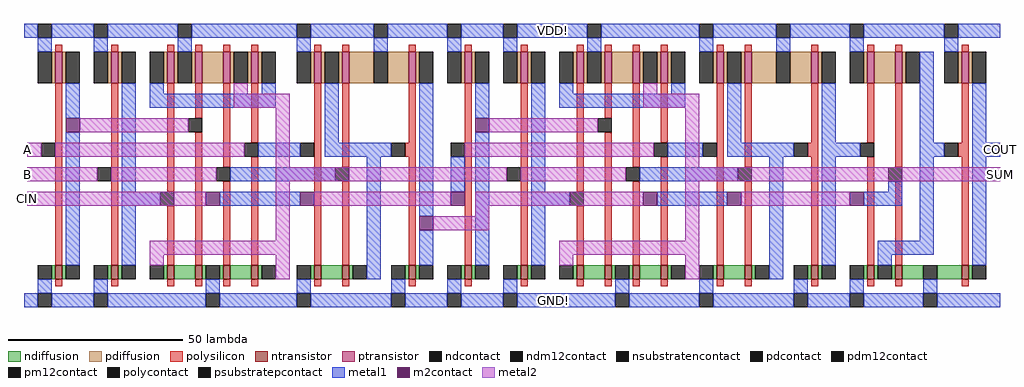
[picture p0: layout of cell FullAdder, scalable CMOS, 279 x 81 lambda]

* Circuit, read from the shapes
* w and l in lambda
.subckt FullAdder A B CIN COUT GND! SUM VDD!
M1 n1 A GND! GND! nfet w=4 l=2
M2 n2 B GND! GND! nfet w=4 l=2
M3 n3 n2 n4 GND! nfet w=4 l=2
M4 GND! n1 n3 GND! nfet w=4 l=2
M5 n5 B GND! GND! nfet w=4 l=2
M6 n4 A n5 GND! nfet w=4 l=2
M7 n6 A GND! GND! nfet w=4 l=2
M8 n7 B n6 GND! nfet w=4 l=2
M9 n8 n7 GND! GND! nfet w=4 l=2
M10 n9 CIN GND! GND! nfet w=4 l=2
M11 n10 n4 GND! GND! nfet w=4 l=2
M12 n11 n10 SUM GND! nfet w=4 l=2
M13 GND! n9 n11 GND! nfet w=4 l=2
M14 n12 n4 GND! GND! nfet w=4 l=2
M15 SUM CIN n12 GND! nfet w=4 l=2
M16 n13 CIN GND! GND! nfet w=4 l=2
M17 n14 n4 n13 GND! nfet w=4 l=2
M18 n15 n14 GND! GND! nfet w=4 l=2
M19 n16 n15 GND! GND! nfet w=4 l=2
M20 GND! n8 n16 GND! nfet w=4 l=2
M21 COUT n16 GND! GND! nfet w=4 l=2
M22 n1 A VDD! VDD! pfet w=9 l=2
M23 n2 B VDD! VDD! pfet w=9 l=2
M24 VDD! n2 n17 VDD! pfet w=9 l=2
M25 n18 n1 VDD! VDD! pfet w=9 l=2
M26 n4 B n18 VDD! pfet w=9 l=2
M27 n17 A n4 VDD! pfet w=9 l=2
M28 n7 A VDD! VDD! pfet w=9 l=2
M29 VDD! B n7 VDD! pfet w=9 l=2
M30 n8 n7 VDD! VDD! pfet w=9 l=2
M31 n9 CIN VDD! VDD! pfet w=9 l=2
M32 n10 n4 VDD! VDD! pfet w=9 l=2
M33 VDD! n10 n19 VDD! pfet w=9 l=2
M34 n20 n9 VDD! VDD! pfet w=9 l=2
M35 SUM n4 n20 VDD! pfet w=9 l=2
M36 n19 CIN SUM VDD! pfet w=9 l=2
M37 n14 CIN VDD! VDD! pfet w=9 l=2
M38 VDD! n4 n14 VDD! pfet w=9 l=2
M39 n15 n14 VDD! VDD! pfet w=9 l=2
M40 n21 n15 VDD! VDD! pfet w=9 l=2
M41 n16 n8 n21 VDD! pfet w=9 l=2
M42 COUT n16 VDD! VDD! pfet w=9 l=2
.ends

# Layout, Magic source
magic
tech scmos
<< ntransistor >>
rect -102 -30 -100 -26
rect -86 -30 -84 -26
rect -70 -30 -68 -26
rect -62 -30 -60 -26
rect -54 -30 -52 -26
rect -46 -30 -44 -26
rect -28 -30 -26 -26
rect -20 -30 -18 -26
rect -1 -30 1 -26
rect 15 -30 17 -26
rect 31 -30 33 -26
rect 47 -30 49 -26
rect 55 -30 57 -26
rect 63 -30 65 -26
rect 71 -30 73 -26
rect 87 -30 89 -26
rect 95 -30 97 -26
rect 114 -30 116 -26
rect 130 -30 132 -26
rect 138 -30 140 -26
rect 157 -30 159 -26
<< ptransistor >>
rect -102 26 -100 35
rect -86 26 -84 35
rect -70 26 -68 35
rect -62 26 -60 35
rect -54 26 -52 35
rect -46 26 -44 35
rect -28 26 -26 35
rect -20 26 -18 35
rect -1 26 1 35
rect 15 26 17 35
rect 31 26 33 35
rect 47 26 49 35
rect 55 26 57 35
rect 63 26 65 35
rect 71 26 73 35
rect 87 26 89 35
rect 95 26 97 35
rect 114 26 116 35
rect 130 26 132 35
rect 138 26 140 35
rect 157 26 159 35
<< ndiffusion >>
rect -103 -30 -102 -26
rect -100 -30 -99 -26
rect -87 -30 -86 -26
rect -84 -30 -83 -26
rect -71 -30 -70 -26
rect -68 -30 -62 -26
rect -60 -30 -59 -26
rect -55 -30 -54 -26
rect -52 -30 -46 -26
rect -44 -30 -43 -26
rect -29 -30 -28 -26
rect -26 -30 -20 -26
rect -18 -30 -17 -26
rect -2 -30 -1 -26
rect 1 -30 2 -26
rect 14 -30 15 -26
rect 17 -30 18 -26
rect 30 -30 31 -26
rect 33 -30 34 -26
rect 46 -30 47 -26
rect 49 -30 55 -26
rect 57 -30 58 -26
rect 62 -30 63 -26
rect 65 -30 71 -26
rect 73 -30 74 -26
rect 86 -30 87 -26
rect 89 -30 95 -26
rect 97 -30 98 -26
rect 113 -30 114 -26
rect 116 -30 117 -26
rect 129 -30 130 -26
rect 132 -30 133 -26
rect 137 -30 138 -26
rect 140 -30 146 -26
rect 150 -30 157 -26
rect 159 -30 160 -26
<< pdiffusion >>
rect -103 26 -102 35
rect -100 26 -99 35
rect -87 26 -86 35
rect -84 26 -83 35
rect -71 26 -70 35
rect -68 26 -67 35
rect -63 26 -62 35
rect -60 26 -54 35
rect -52 26 -51 35
rect -47 26 -46 35
rect -44 26 -43 35
rect -29 26 -28 35
rect -26 26 -25 35
rect -21 26 -20 35
rect -18 26 -11 35
rect -7 26 -1 35
rect 1 26 2 35
rect 14 26 15 35
rect 17 26 18 35
rect 30 26 31 35
rect 33 26 34 35
rect 46 26 47 35
rect 49 26 50 35
rect 54 26 55 35
rect 57 26 63 35
rect 65 26 66 35
rect 70 26 71 35
rect 73 26 74 35
rect 86 26 87 35
rect 89 26 90 35
rect 94 26 95 35
rect 97 26 104 35
rect 108 26 114 35
rect 116 26 117 35
rect 129 26 130 35
rect 132 26 138 35
rect 140 26 141 35
rect 156 26 157 35
rect 159 26 160 35
<< ndcontact >>
rect -107 -30 -103 -26
rect -99 -30 -95 -26
rect -91 -30 -87 -26
rect -83 -30 -79 -26
rect -59 -30 -55 -26
rect -33 -30 -29 -26
rect -17 -30 -13 -26
rect -6 -30 -2 -26
rect 2 -30 6 -26
rect 10 -30 14 -26
rect 18 -30 22 -26
rect 26 -30 30 -26
rect 34 -30 38 -26
rect 58 -30 62 -26
rect 82 -30 86 -26
rect 98 -30 102 -26
rect 109 -30 113 -26
rect 117 -30 121 -26
rect 125 -30 129 -26
rect 133 -30 137 -26
rect 146 -30 150 -26
rect 160 -30 164 -26
<< pdcontact >>
rect -107 26 -103 35
rect -99 26 -95 35
rect -91 26 -87 35
rect -83 26 -79 35
rect -75 26 -71 35
rect -67 26 -63 35
rect -43 26 -39 35
rect -33 26 -29 35
rect -25 26 -21 35
rect -11 26 -7 35
rect 2 26 6 35
rect 10 26 14 35
rect 18 26 22 35
rect 26 26 30 35
rect 34 26 38 35
rect 42 26 46 35
rect 50 26 54 35
rect 74 26 78 35
rect 82 26 86 35
rect 90 26 94 35
rect 104 26 108 35
rect 117 26 121 35
rect 125 26 129 35
rect 141 26 145 35
rect 152 26 156 35
rect 160 26 164 35
<< psubstratepcontact >>
rect -107 -38 -103 -34
rect -91 -38 -87 -34
rect -59 -38 -55 -34
rect -33 -38 -29 -34
rect -6 -38 -2 -34
rect 10 -38 14 -34
rect 26 -38 30 -34
rect 58 -38 62 -34
rect 82 -38 86 -34
rect 109 -38 113 -34
rect 125 -38 129 -34
rect 146 -38 150 -34
<< nsubstratencontact >>
rect -107 39 -103 43
rect -91 39 -87 43
rect -67 39 -63 43
rect -33 39 -29 43
rect -11 39 -7 43
rect 10 39 14 43
rect 26 39 30 43
rect 50 39 54 43
rect 82 39 86 43
rect 104 39 108 43
rect 125 39 129 43
rect 152 39 156 43
<< polysilicon >>
rect -102 35 -100 37
rect -86 35 -84 37
rect -70 35 -68 37
rect -62 35 -60 37
rect -54 35 -52 37
rect -46 35 -44 37
rect -28 35 -26 37
rect -20 35 -18 37
rect -1 35 1 37
rect 15 35 17 37
rect 31 35 33 37
rect 47 35 49 37
rect 55 35 57 37
rect 63 35 65 37
rect 71 35 73 37
rect 87 35 89 37
rect 95 35 97 37
rect 114 35 116 37
rect 130 35 132 37
rect 138 35 140 37
rect 157 35 159 37
rect -102 -26 -100 26
rect -86 -26 -84 26
rect -70 -5 -68 26
rect -62 16 -60 26
rect -70 -26 -68 -9
rect -62 -26 -60 12
rect -54 2 -52 26
rect -46 9 -44 26
rect -54 -26 -52 -2
rect -46 -26 -44 5
rect -28 -26 -26 26
rect -20 2 -18 26
rect -1 9 1 26
rect -2 5 1 9
rect -20 -26 -18 -2
rect -1 -26 1 5
rect 15 -26 17 26
rect 31 -26 33 26
rect 47 -5 49 26
rect 55 16 57 26
rect 47 -26 49 -9
rect 55 -26 57 12
rect 63 2 65 26
rect 71 9 73 26
rect 63 -26 65 -2
rect 71 -26 73 5
rect 87 -26 89 26
rect 95 2 97 26
rect 114 9 116 26
rect 130 9 132 26
rect 113 5 116 9
rect 95 -26 97 -2
rect 114 -26 116 5
rect 130 -26 132 5
rect 138 2 140 26
rect 157 9 159 26
rect 156 5 159 9
rect 138 -26 140 -2
rect 157 -26 159 5
rect -102 -32 -100 -30
rect -86 -32 -84 -30
rect -70 -32 -68 -30
rect -62 -32 -60 -30
rect -54 -32 -52 -30
rect -46 -32 -44 -30
rect -28 -32 -26 -30
rect -20 -32 -18 -30
rect -1 -32 1 -30
rect 15 -32 17 -30
rect 31 -32 33 -30
rect 47 -32 49 -30
rect 55 -32 57 -30
rect 63 -32 65 -30
rect 71 -32 73 -30
rect 87 -32 89 -30
rect 95 -32 97 -30
rect 114 -32 116 -30
rect 130 -32 132 -30
rect 138 -32 140 -30
rect 157 -32 159 -30
<< polycontact >>
rect -72 -9 -68 -5
rect -32 5 -28 9
rect -6 5 -2 9
rect -22 -2 -18 2
rect 45 -9 49 -5
rect 83 5 87 9
rect 109 5 113 9
rect 128 5 132 9
rect 93 -2 97 2
rect 152 5 156 9
rect 136 -2 140 2
<< metal1 >>
rect -111 39 -107 43
rect -103 39 -91 43
rect -87 39 -67 43
rect -63 39 -33 43
rect -29 39 -11 43
rect -7 39 10 43
rect 14 39 26 43
rect 30 39 50 43
rect 54 39 82 43
rect 86 39 104 43
rect 108 39 125 43
rect 129 39 152 43
rect 156 39 168 43
rect -107 35 -103 39
rect -91 35 -87 39
rect -67 35 -63 39
rect -33 35 -29 39
rect -11 35 -7 39
rect 10 35 14 39
rect 26 35 30 39
rect 50 35 54 39
rect 82 35 86 39
rect 104 35 108 39
rect 125 35 129 39
rect 152 35 156 39
rect -99 16 -95 26
rect -99 -26 -95 12
rect -83 -5 -79 26
rect -75 23 -71 26
rect -43 23 -39 26
rect -75 19 -39 23
rect -25 9 -21 26
rect -44 5 -32 9
rect -25 5 -6 9
rect -52 -2 -22 2
rect -83 -9 -72 -5
rect -55 -9 -32 -5
rect -83 -26 -79 -9
rect -13 -30 -9 5
rect 2 -12 6 26
rect 18 16 22 26
rect 11 -5 15 5
rect 2 -26 6 -16
rect 18 -26 22 12
rect 34 -5 38 26
rect 42 23 46 26
rect 74 23 78 26
rect 42 19 78 23
rect 90 9 94 26
rect 117 9 121 26
rect 145 9 149 35
rect 160 9 164 26
rect 73 5 83 9
rect 90 5 109 9
rect 117 5 128 9
rect 145 5 152 9
rect 160 5 168 9
rect 65 -2 93 2
rect 34 -9 45 -5
rect 70 -9 90 -5
rect 34 -26 38 -9
rect 102 -30 106 5
rect 117 -26 121 5
rect 136 -5 140 -2
rect 129 -9 140 -5
rect 145 -19 149 5
rect 133 -23 149 -19
rect 133 -26 137 -23
rect 160 -26 164 5
rect -107 -34 -103 -30
rect -91 -34 -87 -30
rect -59 -34 -55 -30
rect -33 -34 -29 -30
rect -6 -34 -2 -30
rect 10 -34 14 -30
rect 26 -34 30 -30
rect 58 -34 62 -30
rect 82 -34 86 -30
rect 109 -34 113 -30
rect 125 -34 129 -30
rect 146 -34 150 -30
rect -111 -38 -107 -34
rect -103 -38 -91 -34
rect -87 -38 -59 -34
rect -55 -38 -33 -34
rect -29 -38 -6 -34
rect -2 -38 10 -34
rect 14 -38 26 -34
rect 30 -38 58 -34
rect 62 -38 82 -34
rect 86 -38 109 -34
rect 113 -38 125 -34
rect 129 -38 146 -34
rect 150 -38 168 -34
<< m2contact >>
rect -99 12 -95 16
rect -59 -9 -55 -5
rect -32 -9 -28 -5
rect 18 12 22 16
rect 11 -9 15 -5
rect 2 -16 6 -12
rect 66 -9 70 -5
rect 90 -9 94 -5
rect 125 -9 129 -5
<< pm12contact >>
rect -106 5 -102 9
rect -90 -2 -86 2
rect -64 12 -60 16
rect -48 5 -44 9
rect -56 -2 -52 2
rect 11 5 15 9
rect 27 -2 31 2
rect 53 12 57 16
rect 69 5 73 9
rect 61 -2 65 2
<< pdm12contact >>
rect -51 26 -47 35
rect 66 26 70 35
<< ndm12contact >>
rect -75 -30 -71 -26
rect -43 -30 -39 -26
rect 42 -30 46 -26
rect 74 -30 78 -26
<< metal2 >>
rect -51 23 -47 26
rect 66 23 70 26
rect -51 19 -35 23
rect 66 19 82 23
rect -95 12 -64 16
rect -110 5 -106 9
rect -102 5 -48 9
rect -39 2 -35 19
rect 22 12 53 16
rect 15 5 69 9
rect 78 2 82 19
rect -110 -2 -90 2
rect -86 -2 -56 2
rect -39 -2 27 2
rect 31 -2 61 2
rect 78 -2 168 2
rect -110 -9 -59 -5
rect -39 -19 -35 -2
rect -28 -9 11 -5
rect 18 -9 66 -5
rect 18 -12 22 -9
rect 6 -16 22 -12
rect 78 -19 82 -2
rect 94 -9 125 -5
rect -75 -23 -35 -19
rect -75 -26 -71 -23
rect -39 -30 -35 -23
rect 42 -23 82 -19
rect 42 -26 46 -23
rect 78 -30 82 -23
<< labels >>
rlabel metal2 -110 -2 -110 2 3 B
rlabel metal2 -110 5 -110 9 3 A
rlabel metal2 -110 -9 -110 -5 3 CIN
rlabel metal2 168 -2 168 2 1 SUM
rlabel metal1 168 5 168 9 1 COUT
rlabel metal1 40 41 41 41 5 VDD!
rlabel metal1 40 -36 41 -36 1 GND!
<< end >>
